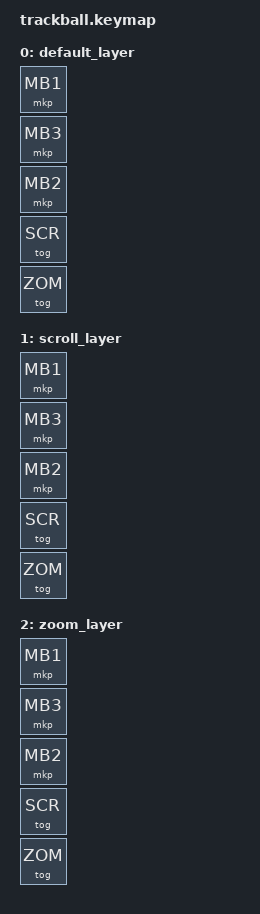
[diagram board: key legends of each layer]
#include <behaviors.dtsi>
#include <dt-bindings/zmk/keys.h>
#include <dt-bindings/zmk/mouse.h>
#include <dt-bindings/zmk/pointing.h>

#define DEF 0
#define SCR 1
#define ZOM 2

/ {
    keymap {
        compatible = "zmk,keymap";

        default_layer {
            bindings = <
                &mkp MB1    /* left click   */
                &mkp MB3    /* middle click  */
                &mkp MB2    /* right click   */
                &tog SCR    /* toggle scroll */
                &tog ZOM    /* toggle zoom   */
            >;
        };

        scroll_layer {
            bindings = <
                &mkp MB1
                &mkp MB3
                &mkp MB2
                &tog SCR
                &tog ZOM
            >;
        };

        zoom_layer {
            bindings = <
                &mkp MB1
                &mkp MB3
                &mkp MB2
                &tog SCR
                &tog ZOM
            >;
        };
    };
};
